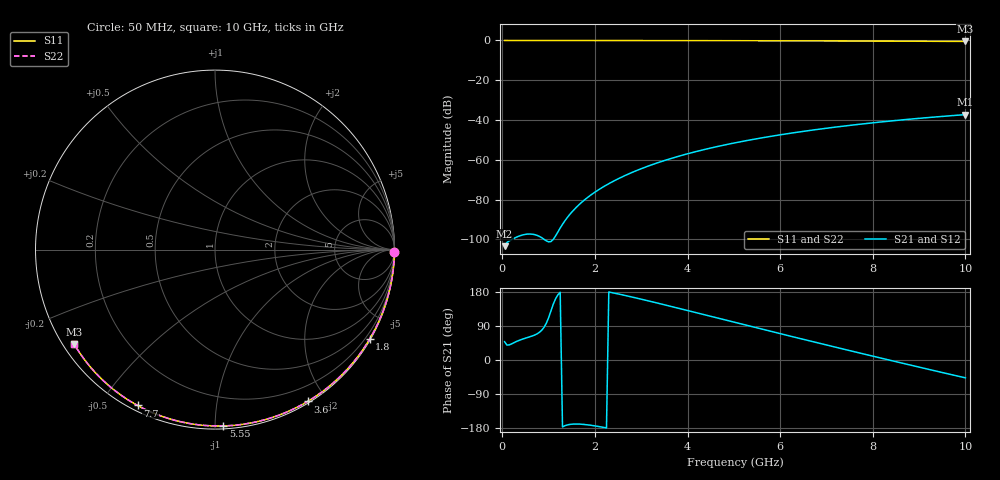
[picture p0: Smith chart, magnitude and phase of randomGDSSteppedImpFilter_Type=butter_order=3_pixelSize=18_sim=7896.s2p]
! freq	dB(S11)	phase(S11)	dB(S12)	phase(S12)
!  dB(S21)	phase(S21)	dB(S22)	phase(S22)
!S-par simulation data
#  GHz  S  DB  R 50
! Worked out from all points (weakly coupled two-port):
!   200 points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, 50 MHz to 10 GHz, reference 50 ohm
!   highest |S21| = -37.29 dB at 10 GHz (marker M1); lowest = -103.4 dB at 50 MHz (marker M2)
!   lowest |S11| = -0.5 dB at 10 GHz (marker M3), VSWR 35.28, Z = 1.55 - j15.3 ohm
!   |S11| at or under -10 dB: nowhere
!   |S22| runs from -0.5 to 0.0 dB; largest |S21 - S12| = 0
!   S11 on the Smith chart (normalised r, x): 50 MHz: open; 1.8 GHz: 0.03, -3.72; 3.6 GHz: 0.02, -1.78; 5.55 GHz: 0.02, -1.05; 7.7 GHz: 0.02, -0.62; 10 GHz: 0.03, -0.31
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0.05  -0.00 -0.9  -103.43 48.1  -103.43 48.1  -0.00 -0.9
0.45  -0.01 -7.6  -97.72 55.7  -97.72 55.7  -0.01 -7.6
0.9  -0.02 -15.2  -99.95 85.9  -99.95 85.9  -0.02 -15.2
1.3  -0.03 -21.8  -92.46 -176.7  -92.46 -176.7  -0.03 -21.8
1.75  -0.04 -29.3  -80.66 -169.9  -80.66 -169.9  -0.04 -29.3
1.8  -0.04 -30.1  -79.69 -170.5  -79.69 -170.5  -0.04 -30.1
1.95  -0.04 -32.5  -77.07 -172.9  -77.07 -172.9  -0.04 -32.5
2.1  -0.04 -35.0  -74.76 -175.9  -74.76 -175.9  -0.04 -35.0
2.3  -0.05 -38.2  -72.01 179.5  -72.01 179.5  -0.05 -38.2
2.5  -0.05 -41.4  -69.57 174.4  -69.57 174.4  -0.05 -41.4
2.9  -0.06 -47.8  -65.40 163.4  -65.40 163.4  -0.06 -47.8
3.4  -0.07 -55.6  -61.13 148.7  -61.13 148.7  -0.07 -55.6
3.6  -0.08 -58.7  -59.65 142.7  -59.65 142.7  -0.08 -58.7
4.3  -0.10 -69.2  -55.19 121.4  -55.19 121.4  -0.10 -69.2
5.05  -0.12 -80.2  -51.35 98.4  -51.35 98.4  -0.12 -80.2
5.55  -0.14 -87.3  -49.19 83.2  -49.19 83.2  -0.14 -87.3
6.1  -0.17 -95.0  -47.08 66.5  -47.08 66.5  -0.17 -95.0
6.7  -0.20 -103.1  -45.05 48.5  -45.05 48.5  -0.20 -103.1
7.7  -0.27 -116.4  -42.17 18.9  -42.17 18.9  -0.27 -116.4
8.35  -0.32 -124.8  -40.57 -0.1  -40.57 -0.1  -0.32 -124.8
9.2  -0.40 -135.8  -38.75 -24.5  -38.75 -24.5  -0.40 -135.8
10  -0.49 -146.0  -37.29 -47.1  -37.29 -47.1  -0.49 -146.0
